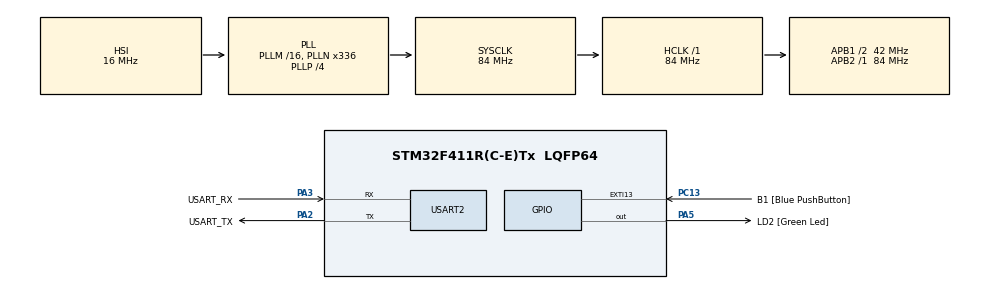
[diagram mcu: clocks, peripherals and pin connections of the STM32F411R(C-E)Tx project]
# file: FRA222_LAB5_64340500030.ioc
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Dma.Request0=USART2_RX
Dma.Request1=USART2_TX
Dma.USART2_RX.0.Direction=DMA_PERIPH_TO_MEMORY
Dma.USART2_RX.0.FIFOMode=DMA_FIFOMODE_DISABLE
Dma.USART2_RX.0.Instance=DMA1_Stream5
Dma.USART2_RX.0.MemDataAlignment=DMA_MDATAALIGN_BYTE
Dma.USART2_RX.0.MemInc=DMA_MINC_ENABLE
Dma.USART2_RX.0.Mode=DMA_CIRCULAR
Dma.USART2_RX.0.PeriphDataAlignment=DMA_PDATAALIGN_BYTE
Dma.USART2_RX.0.PeriphInc=DMA_PINC_DISABLE
Dma.USART2_RX.0.Priority=DMA_PRIORITY_LOW
Dma.USART2_TX.1.Direction=DMA_MEMORY_TO_PERIPH
Dma.USART2_TX.1.FIFOMode=DMA_FIFOMODE_DISABLE
Dma.USART2_TX.1.Instance=DMA1_Stream6
Dma.USART2_TX.1.MemDataAlignment=DMA_MDATAALIGN_BYTE
Dma.USART2_TX.1.MemInc=DMA_MINC_ENABLE
Dma.USART2_TX.1.Mode=DMA_NORMAL
Dma.USART2_TX.1.PeriphDataAlignment=DMA_PDATAALIGN_BYTE
Dma.USART2_TX.1.PeriphInc=DMA_PINC_DISABLE
Dma.USART2_TX.1.Priority=DMA_PRIORITY_LOW
Mcu.Family=STM32F4
Mcu.Name=STM32F411R(C-E)Tx
Mcu.Package=LQFP64
NVIC.DMA1_Stream5_IRQn=true\:0\:0\:false\:false\:true\:false\:true\:true
NVIC.DMA1_Stream6_IRQn=true\:0\:0\:false\:false\:true\:false\:true\:true
NVIC.PriorityGroup=NVIC_PRIORITYGROUP_0
NVIC.USART2_IRQn=true\:0\:0\:false\:false\:true\:true\:true\:true
PA13.GPIO_Label=TMS
PA13.Mode=Serial_Wire
PA13.Signal=SYS_JTMS-SWDIO
PA14.GPIO_Label=TCK
PA14.Mode=Serial_Wire
PA14.Signal=SYS_JTCK-SWCLK
PA2.GPIO_Label=USART_TX
PA2.Mode=Asynchronous
PA2.Signal=USART2_TX
PA3.GPIO_Label=USART_RX
PA3.Mode=Asynchronous
PA3.Signal=USART2_RX
PA5.GPIO_Label=LD2 [Green Led]
PA5.Signal=GPIO_Output
PB3.GPIO_Label=SWO
PB3.Signal=SYS_JTDO-SWO
PC13-ANTI_TAMP.GPIO_Label=B1 [Blue PushButton]
PC13-ANTI_TAMP.GPIO_ModeDefaultEXTI=GPIO_MODE_IT_FALLING
PC13-ANTI_TAMP.Signal=GPXTI13
PC14-OSC32_IN.Mode=LSE-External-Oscillator
PC14-OSC32_IN.Signal=RCC_OSC32_IN
PC15-OSC32_OUT.Mode=LSE-External-Oscillator
PC15-OSC32_OUT.Signal=RCC_OSC32_OUT
PH0\ -\ OSC_IN.Mode=HSE-External-Clock-Source
PH0\ -\ OSC_IN.Signal=RCC_OSC_IN
PH1\ -\ OSC_OUT.Mode=HSE-External-Clock-Source
PH1\ -\ OSC_OUT.Signal=RCC_OSC_OUT
ProjectManager.HeapSize=0x200
ProjectManager.StackSize=0x400
ProjectManager.TargetToolchain=STM32CubeIDE
RCC.48MHZClocksFreq_Value=84000000
RCC.AHBFreq_Value=84000000
RCC.APB1CLKDivider=RCC_HCLK_DIV2
RCC.APB1Freq_Value=42000000
RCC.APB1TimFreq_Value=84000000
RCC.APB2Freq_Value=84000000
RCC.APB2TimFreq_Value=84000000
RCC.CortexFreq_Value=84000000
RCC.FLatency-AdvancedSettings=FLASH_LATENCY_2
RCC.HCLKFreq_Value=84000000
RCC.HSE_VALUE=8000000
RCC.HSI_VALUE=16000000
RCC.PLLN=336
RCC.PLLP=RCC_PLLP_DIV4
RCC.SYSCLKFreq_VALUE=84000000
RCC.SYSCLKSource=RCC_SYSCLKSOURCE_PLLCLK
RCC.VCOOutputFreq_Value=336000000
USART2.VirtualMode=VM_ASYNC
board=NUCLEO-F411RE

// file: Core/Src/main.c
/* USER CODE BEGIN Header */
/**
  ******************************************************************************
  * @file           : main.c
  * @brief          : Main program body
  ******************************************************************************
  * @attention
  *
  * Copyright (c) 2023 STMicroelectronics.
  * All rights reserved.
  *
  * This software is licensed under terms that can be found in the LICENSE file
  * in the root directory of this software component.
  * If no LICENSE file comes with this software, it is provided AS-IS.
  *
  ******************************************************************************
  */
/* USER CODE END Header */
#include "main.h"

/* USER CODE BEGIN Includes */
#include "stdio.h"
#include "string.h"
/* USER CODE END Includes */

UART_HandleTypeDef huart2;
DMA_HandleTypeDef hdma_usart2_rx;
DMA_HandleTypeDef hdma_usart2_tx;

/* USER CODE BEGIN PV */
uint8_t RxBuffer[5];
uint8_t TxBuffer[20];

uint8_t mainMenu[200] = {
		"-----HOME-----\r\n"
		"PLEASE SELECT MODE\r\n"
		"(^_^)> 0 for LED mode\r\n"
		"(^_^)> 1 for Button mode\r\n"
};
uint8_t LEDModeMenu[200] = {
		"-----LED MODE-----\r\n"
		"PLEASE SELECT MODE\r\n"
		"(>_<)> a for speed up 1 Hz\r\n"
		"(>_<)> s for speed down 1 Hz\r\n"
		"(>_<)> d for on/off LED\r\n"
		"(>_<)> x for back\r\n"
};
uint8_t buttonModeMenu[200] = {
		"-----BUTTON MODE-----\r\n"
		"PLEASE SELECT MODE\r\n"
		"(T_T)> x for back\r\n"
};

uint8_t warning[100] = {
		"You pressed an incorrect option, please try again\r\n"
};

uint8_t LEDSpeed[20];

int state = 1;

int button_L = 1;
int button_C = 1;
int flag = 0;
int typing_F = 1;

int hz = 1;
float delay = 0;

int ledStatus = 1;
/* USER CODE END PV */

void SystemClock_Config(void);
static void MX_GPIO_Init(void);
static void MX_DMA_Init(void);
static void MX_USART2_UART_Init(void);
/* USER CODE BEGIN PFP */
void UARTInterruptConfig();
void LED();
/* USER CODE END PFP */

int main(void)
{

  /* MCU Configuration--------------------------------------------------------*/

  /* Reset of all peripherals, Initializes the Flash interface and the Systick. */
  HAL_Init();

  /* Configure the system clock */
  SystemClock_Config();

  /* Initialize all configured peripherals */
  MX_GPIO_Init();
  MX_DMA_Init();
  MX_USART2_UART_Init();
  /* USER CODE BEGIN 2 */
  UARTInterruptConfig();
  /* USER CODE END 2 */

  /* Infinite loop */
  /* USER CODE BEGIN WHILE */
  HAL_UART_Transmit_IT(&huart2, mainMenu, strlen(mainMenu));
  while (1)
  {
	  button_C = HAL_GPIO_ReadPin(B1_GPIO_Port, B1_Pin);
	  if (button_L != button_C) {
			flag = 1;
	  } else {
			flag = 0;
	  }
	  button_L = button_C;

	  LED();
	  switch (state) {
		case 1: //init state
			if(typing_F){
				if(RxBuffer[0] == 48){ //0: LED mode
					HAL_UART_Transmit_IT(&huart2, LEDModeMenu, strlen(LEDModeMenu));
					typing_F = 0;
					state = 2;
				}
				else if(RxBuffer[0] == 49){ //1: Button mode
					HAL_UART_Transmit_IT(&huart2, buttonModeMenu, strlen(buttonModeMenu));
					typing_F = 0;
					state = 3;
				}
				else{
					HAL_UART_Transmit_IT(&huart2, warning, strlen(warning));
					typing_F = 0;
					state = 1;
				}
			}
			break;
		case 2: //LED mode
			if(typing_F){
				if(RxBuffer[0] == 97){ //a: speed up 1Hz
					hz += 1;
					if (hz < 0) {hz = 0;}
					sprintf((char*)LEDSpeed, "\r\nLED speed : %d\r\n", hz);
					HAL_UART_Transmit_IT(&huart2, LEDSpeed, strlen(LEDSpeed));
					typing_F = 0;
					state = 2;
				}
				else if(RxBuffer[0] == 115){ //s: speed down 1Hz
					hz -= 1;
					if (hz < 0) {hz = 0;}
					sprintf((char*)LEDSpeed, "\r\nLED speed : %d\r\n", hz);
					HAL_UART_Transmit_IT(&huart2, LEDSpeed, strlen(LEDSpeed));
					typing_F = 0;
					state = 2;
				}
				else if(RxBuffer[0] == 100){ //d : on/off LED
					ledStatus = !ledStatus;
					if (ledStatus == 1) {
						HAL_UART_Transmit_IT(&huart2, "LED on\r\n", strlen("LED on\r\n"));
					} else if(ledStatus == 0){
						HAL_UART_Transmit_IT(&huart2, "LED off\r\n", strlen("LED off\r\n"));
					}
					typing_F = 0;
					state = 2;
				}
				else if(RxBuffer[0] == 120){ //x: back
					HAL_UART_Transmit_IT(&huart2, mainMenu, strlen(mainMenu));
					typing_F = 0;
					state = 1;
				}
				else{
					HAL_UART_Transmit_IT(&huart2, warning, strlen(warning));
					typing_F = 0;
					state = 2;
				}
			}
			break;
		case 3: //Button mode
			if(flag){
				if(button_C == 0){
					HAL_UART_Transmit_IT(&huart2, "pressed\r\n", strlen("pressed\r\n"));
				}
				else if(button_C == 1){
					HAL_UART_Transmit_IT(&huart2, "unpressed\r\n", strlen("unpressed\r\n"));
				}
			}
			if(typing_F){
				if(RxBuffer[0] == 120){ //x: back
					HAL_UART_Transmit_IT(&huart2, mainMenu, strlen(mainMenu));
					typing_F = 0;
					state = 1;
				}
				else{
					HAL_UART_Transmit_IT(&huart2, warning, strlen(warning));
					typing_F = 0;
					state = 3;
				}
			}
			break;
	  }
    /* USER CODE END WHILE */

  }
}

void SystemClock_Config(void)
{
  RCC_OscInitTypeDef RCC_OscInitStruct = {0};
  RCC_ClkInitTypeDef RCC_ClkInitStruct = {0};

  /** Configure the main internal regulator output voltage
  */
  __HAL_RCC_PWR_CLK_ENABLE();
  __HAL_PWR_VOLTAGESCALING_CONFIG(PWR_REGULATOR_VOLTAGE_SCALE1);

  /** Initializes the RCC Oscillators according to the specified parameters
  * in the RCC_OscInitTypeDef structure.
  */
  RCC_OscInitStruct.OscillatorType = RCC_OSCILLATORTYPE_HSI;
  RCC_OscInitStruct.HSIState = RCC_HSI_ON;
  RCC_OscInitStruct.HSICalibrationValue = RCC_HSICALIBRATION_DEFAULT;
  RCC_OscInitStruct.PLL.PLLState = RCC_PLL_ON;
  RCC_OscInitStruct.PLL.PLLSource = RCC_PLLSOURCE_HSI;
  RCC_OscInitStruct.PLL.PLLM = 16;
  RCC_OscInitStruct.PLL.PLLN = 336;
  RCC_OscInitStruct.PLL.PLLP = RCC_PLLP_DIV4;
  RCC_OscInitStruct.PLL.PLLQ = 4;
  if (HAL_RCC_OscConfig(&RCC_OscInitStruct) != HAL_OK)
  {
    Error_Handler();
  }

  /** Initializes the CPU, AHB and APB buses clocks
  */
  RCC_ClkInitStruct.ClockType = RCC_CLOCKTYPE_HCLK|RCC_CLOCKTYPE_SYSCLK
                              |RCC_CLOCKTYPE_PCLK1|RCC_CLOCKTYPE_PCLK2;
  RCC_ClkInitStruct.SYSCLKSource = RCC_SYSCLKSOURCE_PLLCLK;
  RCC_ClkInitStruct.AHBCLKDivider = RCC_SYSCLK_DIV1;
  RCC_ClkInitStruct.APB1CLKDivider = RCC_HCLK_DIV2;
  RCC_ClkInitStruct.APB2CLKDivider = RCC_HCLK_DIV1;

  if (HAL_RCC_ClockConfig(&RCC_ClkInitStruct, FLASH_LATENCY_2) != HAL_OK)
  {
    Error_Handler();
  }
}

static void MX_USART2_UART_Init(void)
{

  huart2.Instance = USART2;
  huart2.Init.BaudRate = 115200;
  huart2.Init.WordLength = UART_WORDLENGTH_8B;
  huart2.Init.StopBits = UART_STOPBITS_1;
  huart2.Init.Parity = UART_PARITY_NONE;
  huart2.Init.Mode = UART_MODE_TX_RX;
  huart2.Init.HwFlowCtl = UART_HWCONTROL_NONE;
  huart2.Init.OverSampling = UART_OVERSAMPLING_16;
  if (HAL_UART_Init(&huart2) != HAL_OK)
  {
    Error_Handler();
  }

}

static void MX_DMA_Init(void)
{

  /* DMA controller clock enable */
  __HAL_RCC_DMA1_CLK_ENABLE();

  /* DMA interrupt init */
  /* DMA1_Stream5_IRQn interrupt configuration */
  HAL_NVIC_SetPriority(DMA1_Stream5_IRQn, 0, 0);
  HAL_NVIC_EnableIRQ(DMA1_Stream5_IRQn);
  /* DMA1_Stream6_IRQn interrupt configuration */
  HAL_NVIC_SetPriority(DMA1_Stream6_IRQn, 0, 0);
  HAL_NVIC_EnableIRQ(DMA1_Stream6_IRQn);

}

static void MX_GPIO_Init(void)
{
  GPIO_InitTypeDef GPIO_InitStruct = {0};

  /* GPIO Ports Clock Enable */
  __HAL_RCC_GPIOC_CLK_ENABLE();
  __HAL_RCC_GPIOH_CLK_ENABLE();
  __HAL_RCC_GPIOA_CLK_ENABLE();
  __HAL_RCC_GPIOB_CLK_ENABLE();

  /*Configure GPIO pin Output Level */
  HAL_GPIO_WritePin(LD2_GPIO_Port, LD2_Pin, GPIO_PIN_RESET);

  /*Configure GPIO pin : B1_Pin */
  GPIO_InitStruct.Pin = B1_Pin;
  GPIO_InitStruct.Mode = GPIO_MODE_IT_FALLING;
  GPIO_InitStruct.Pull = GPIO_NOPULL;
  HAL_GPIO_Init(B1_GPIO_Port, &GPIO_InitStruct);

  /*Configure GPIO pin : LD2_Pin */
  GPIO_InitStruct.Pin = LD2_Pin;
  GPIO_InitStruct.Mode = GPIO_MODE_OUTPUT_PP;
  GPIO_InitStruct.Pull = GPIO_NOPULL;
  GPIO_InitStruct.Speed = GPIO_SPEED_FREQ_LOW;
  HAL_GPIO_Init(LD2_GPIO_Port, &GPIO_InitStruct);

}

/* USER CODE BEGIN 4 */
//Blink LED
void LED(){
	if (hz != 0) {
		delay = (500/hz);
	}
	else{
		delay = 0;
	}

	if (ledStatus) {
		static uint32_t timestamp = 0;

		if(HAL_GetTick() >= timestamp && hz != 0){
			timestamp = HAL_GetTick() + delay;
			HAL_GPIO_TogglePin(LD2_GPIO_Port, LD2_Pin);
		}
		else if(hz == 0){

		}
	}
	else if(ledStatus == 0){
		HAL_GPIO_WritePin(GPIOA, GPIO_PIN_5, 0);
	}
}
//using Interrupt
void UARTInterruptConfig(){
	//start UART in Interrupt mode
	HAL_UART_Receive_IT(&huart2, RxBuffer, 1);
}
void HAL_UART_RxCpltCallback(UART_HandleTypeDef *huart){
	if(huart == &huart2){
		//(for string only) Add string stop symbol \0 to end string
		typing_F = 1;
		RxBuffer[1] = '\0';
		//return received char
		sprintf((char*)TxBuffer, "\r\nReceived : %s\r\n", RxBuffer);
		HAL_UART_Transmit(&huart2, TxBuffer, strlen((char*)TxBuffer), 10);
		//recall Receive
		HAL_UART_Receive_IT(&huart2, RxBuffer, 1);
	}
}
/* USER CODE END 4 */

void Error_Handler(void)
{
  __disable_irq();
  while (1)
  {
  }
}
